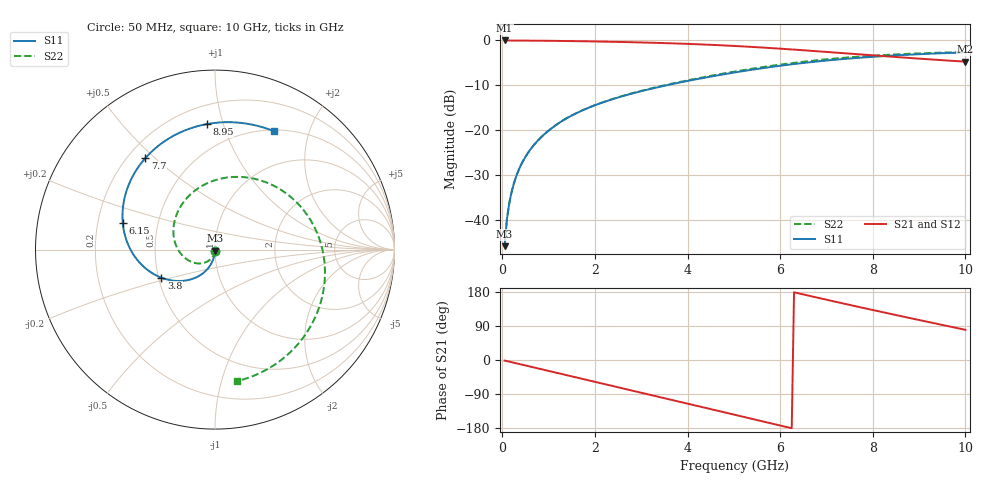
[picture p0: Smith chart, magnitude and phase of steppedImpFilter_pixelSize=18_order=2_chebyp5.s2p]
! freq	dB(S11)	phase(S11)	dB(S12)	phase(S12)
!  dB(S21)	phase(S21)	dB(S22)	phase(S22)
!S-par simulation data
#  GHz  S  DB  R 50
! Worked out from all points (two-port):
!   200 points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, 50 MHz to 10 GHz, reference 50 ohm
!   highest |S21| = 0.00 dB at 50 MHz (marker M1); lowest = -4.7 dB at 10 GHz (marker M2)
!   |S21| within 3 dB of the highest: start of sweep to 7.583 GHz
!   lowest |S11| = -45.8 dB at 50 MHz (marker M3), VSWR 1.01, Z = 50 - j0.512 ohm
!   |S11| at or under -10 dB: start of sweep to 3.543 GHz
!   |S22| runs from -45.8 to -2.6 dB; largest |S21 - S12| = 0
!   S11 on the Smith chart (normalised r, x): 50 MHz: 1.00, -0.01; 3.8 GHz: 0.52, -0.18; 6.15 GHz: 0.31, +0.13; 7.7 GHz: 0.27, +0.47; 8.95 GHz: 0.32, +0.88; 10 GHz: 0.51, +1.48
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0.05  -45.82 -90.7  -0.00 -1.5  -0.00 -1.5  -45.83 -91.8
0.1  -39.80 -91.8  -0.00 -2.9  -0.00 -2.9  -39.81 -94.1
0.15  -36.28 -92.8  -0.01 -4.4  -0.01 -4.4  -36.29 -96.2
0.2  -33.79 -93.8  -0.01 -5.8  -0.01 -5.8  -33.80 -98.4
0.35  -28.96 -96.7  -0.02 -10.1  -0.02 -10.1  -28.98 -104.7
0.5  -25.92 -99.6  -0.03 -14.4  -0.03 -14.4  -25.92 -110.9
0.7  -23.08 -103.0  -0.05 -20.2  -0.05 -20.2  -23.07 -119.1
1  -20.07 -108.1  -0.07 -28.8  -0.07 -28.8  -20.10 -131.2
1.75  -15.49 -120.6  -0.18 -50.3  -0.18 -50.3  -15.46 -162.1
2.6  -12.40 -134.0  -0.35 -74.7  -0.35 -74.7  -12.34 162.3
3.4  -10.33 -146.1  -0.56 -97.7  -0.56 -97.7  -10.22 128.2
3.8  -9.44 -152.4  -0.69 -109.3  -0.69 -109.3  -9.31 111.3
4.45  -8.15 -163.0  -0.95 -128.1  -0.95 -128.1  -7.98 84.2
5.05  -7.08 -173.7  -1.24 -145.6  -1.24 -145.6  -6.87 60.1
5.6  -6.21 175.6  -1.57 -161.4  -1.57 -161.4  -5.97 39.3
6.15  -5.44 164.0  -1.93 -177.1  -1.93 -177.1  -5.18 19.8
6.7  -4.79 151.6  -2.33 167.4  -2.33 167.4  -4.52 1.7
7.7  -3.86 127.2  -3.09 140.0  -3.09 140.0  -3.60 -27.6
8.35  -3.42 110.2  -3.58 122.6  -3.58 122.6  -3.18 -44.3
8.95  -3.09 93.8  -4.02 106.8  -4.02 106.8  -2.90 -58.4
9.5  -2.84 78.2  -4.40 92.5  -4.40 92.5  -2.71 -70.3
10  -2.66 63.7  -4.72 79.6  -4.72 79.6  -2.58 -80.5
